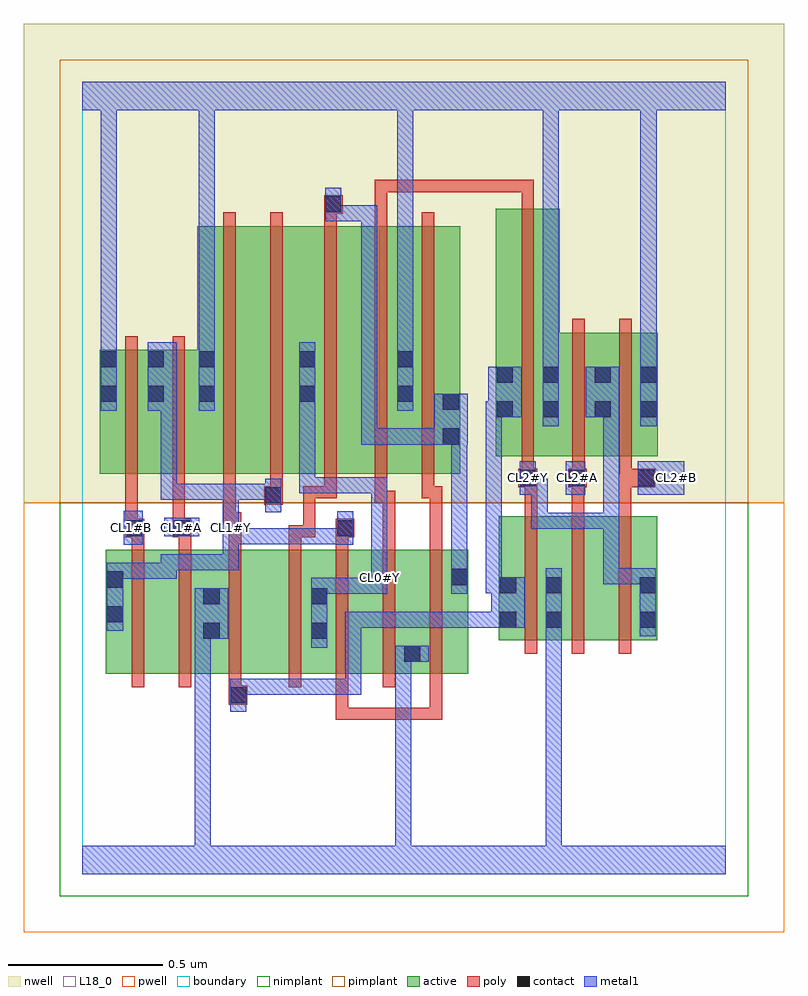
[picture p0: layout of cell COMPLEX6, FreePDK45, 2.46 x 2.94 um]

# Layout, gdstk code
import gdstk
lib = gdstk.Library(unit=1e-6, precision=1e-09)
def R(c, l, rs):  # rectangles x0, y0, x1, y1
    for r in rs: c.add(gdstk.rectangle(r[:2], r[2:], *l))
def A(c, l, x, y, w, h, nx, ny, dx, dy):  # array of equal rectangles
    R(c, l, [(x+i*dx, y+j*dy, x+i*dx+w, y+j*dy+h) for i in range(nx) for j in range(ny)])
active = (1, 0)
pwell = (2, 0)
nwell = (3, 0)
nimplant = (4, 0)
pimplant = (5, 0)
poly = (9, 0)
contact = (10, 0)
metal1 = (11, 0)
L18_0 = (18, 0)
boundary = (235, 0)

complex6 = lib.new_cell('COMPLEX6')
R(complex6, active, [(0.076,0.648,0.136,1.048), (0.076,0.648,0.256,1.048), (0.256,0.648,0.448,1.048), (0.388,0.648,0.448,1.048), (0.388,0.648,0.612,1.048), (0.612,0.648,0.796,1.048), (0.736,0.648,0.796,1.048), (0.736,0.648,0.916,1.048), (0.916,0.648,1.096,1.048), (1.036,0.648,1.248,1.048), (1.036,0.648,1.096,0.828), (1.188,0.756,1.248,1.048), (1.346,0.756,1.406,1.156), (1.346,0.756,1.554,1.156), (1.494,0.756,1.554,1.156), (1.494,0.756,1.678,1.156), (1.678,0.756,1.858,1.156), (1.798,0.756,1.858,1.156), (0.056,1.294,0.116,1.694), (0.056,1.294,0.268,1.694), (0.208,1.294,0.268,1.694), (0.208,1.294,0.432,1.694), (0.372,1.294,0.552,2.094), (0.552,1.294,0.758,2.094), (0.698,1.294,0.758,2.044), (0.698,1.294,0.89,2.094), (0.89,1.294,1.074,2.094), (1.014,1.294,1.222,2.094), (1.014,1.294,1.074,2.044), (1.162,1.294,1.222,2.044), (1.336,1.35,1.544,2.15), (1.336,1.35,1.396,2.044), (1.484,1.35,1.712,1.75), (1.484,1.35,1.544,2.15), (1.652,1.35,1.712,1.75), (1.652,1.35,1.86,1.75), (1.8,1.35,1.86,1.75), (0.372,1.458,0.432,2.094)])
R(complex6, pwell, [(-0.188,-0.188,2.268,1.2)])
R(complex6, nwell, [(-0.188,1.2,2.268,2.748)])
R(complex6, nimplant, [(-0.072,-0.072,2.152,1.2)])
R(complex6, pimplant, [(-0.072,1.2,2.152,2.632)])
A(complex6, poly, 0.668, 0.604, 0.04, 0.488, 4, 1, 0.152, 0)
A(complex6, poly, 1.43, 0.712, 0.04, 0.488, 3, 1, 0.152, 0)
A(complex6, poly, 1.43, 1.16, 0.04, 0.13, 3, 1, 0.152, 0)
R(complex6, poly, [(0.82,0.498,0.86,0.538), (0.82,0.498,0.86,0.538), (0.82,0.498,0.86,0.538), (0.82,0.498,0.86,0.644), (0.82,0.498,0.966,0.538), (0.926,0.498,0.966,0.538), (0.926,0.498,1.164,0.538), (1.124,0.498,1.164,0.538), (1.124,0.498,1.164,0.538), (1.124,0.498,1.164,0.538), (1.124,0.498,1.164,0.644), (0.474,0.548,0.534,0.608), (0.474,0.568,0.514,0.644), (0.16,0.604,0.2,1.092), (0.312,0.604,0.352,1.092), (0.474,0.604,0.514,1.092), (0.16,1.052,0.2,1.128), (0.312,1.052,0.352,1.128), (0.474,1.052,0.514,1.17), (0.668,1.052,0.708,1.128), (0.82,1.052,0.86,1.128), (0.972,1.052,1.012,1.238), (1.124,1.052,1.164,1.254), (0.14,1.088,0.2,1.148), (0.16,1.088,0.2,1.128), (0.16,1.088,0.2,1.128), (0.292,1.088,0.352,1.148), (0.668,1.088,0.708,1.128), (0.668,1.088,0.754,1.128), (0.714,1.088,0.754,1.128), (0.714,1.088,0.754,1.254), (0.82,1.088,0.88,1.148), (0.14,1.108,0.18,1.29), (0.292,1.108,0.332,1.148), (0.292,1.108,0.332,1.148), (0.292,1.108,0.332,1.29), (0.456,1.13,0.496,1.29), (0.456,1.13,0.514,1.17), (0.474,1.13,0.514,1.17), (0.474,1.13,0.514,1.17), (0.588,1.194,0.648,1.254), (0.946,1.198,0.986,1.29), (0.946,1.198,0.998,1.238), (0.958,1.198,0.998,1.238), (0.958,1.198,1.012,1.238), (0.608,1.214,0.648,1.29), (0.714,1.214,0.754,1.254), (0.714,1.214,0.822,1.254), (0.782,1.214,0.822,1.29), (0.782,1.214,0.822,1.254), (1.098,1.214,1.138,1.29), (1.098,1.214,1.164,1.254), (1.124,1.214,1.164,1.254), (1.124,1.214,1.164,1.254), (0.14,1.25,0.18,1.738), (0.292,1.25,0.332,1.738), (0.456,1.25,0.496,2.138), (0.608,1.25,0.648,2.138), (0.782,1.25,0.822,2.138), (0.946,1.25,0.986,2.138), (1.098,1.25,1.138,2.138), (1.41,1.25,1.47,1.31), (1.57,1.25,1.63,1.31), (1.582,1.25,1.622,1.29), (1.582,1.25,1.622,1.29), (1.734,1.25,1.776,1.29), (1.736,1.25,1.776,1.29), (1.736,1.25,1.852,1.31), (1.42,1.27,1.46,1.346), (1.42,1.27,1.46,1.31), (1.42,1.27,1.46,1.31), (1.584,1.27,1.624,1.346), (1.736,1.27,1.776,1.346), (1.42,1.306,1.46,2.194), (1.584,1.306,1.624,1.794), (1.736,1.306,1.776,1.794), (0.782,2.098,0.822,2.174), (0.946,2.098,0.986,2.244), (0.782,2.134,0.842,2.194), (1.42,2.154,1.46,2.244), (0.946,2.204,0.986,2.244), (0.946,2.204,1.092,2.244), (1.052,2.204,1.092,2.244), (1.052,2.204,1.092,2.244), (1.052,2.204,1.092,2.244), (1.052,2.204,1.302,2.244), (1.262,2.204,1.302,2.244), (1.262,2.204,1.302,2.244), (1.262,2.204,1.302,2.244), (1.262,2.204,1.46,2.244), (1.42,2.204,1.46,2.244)])
R(complex6, contact, [(0.478,0.552,0.53,0.604), (1.04,0.686,1.092,0.738), (0.392,0.76,0.444,0.812), (0.74,0.76,0.792,0.812), (1.35,0.796,1.402,0.848), (1.498,0.796,1.55,0.848), (1.802,0.796,1.854,0.848), (0.08,0.814,0.132,0.866), (0.392,0.872,0.444,0.924), (0.74,0.872,0.792,0.924), (1.35,0.908,1.402,0.96), (1.498,0.908,1.55,0.96), (1.802,0.908,1.854,0.96), (0.08,0.926,0.132,0.978), (1.192,0.934,1.244,0.986), (0.144,1.092,0.196,1.144), (0.296,1.092,0.348,1.144), (0.824,1.092,0.876,1.144), (0.592,1.198,0.644,1.25), (1.414,1.254,1.466,1.306), (1.574,1.254,1.626,1.306), (1.796,1.254,1.848,1.306), (1.166,1.388,1.218,1.44), (1.34,1.476,1.392,1.528), (1.488,1.476,1.54,1.528), (1.656,1.476,1.708,1.528), (1.804,1.476,1.856,1.528), (1.166,1.5,1.218,1.552), (0.06,1.526,0.112,1.578), (0.212,1.526,0.264,1.578), (0.376,1.526,0.428,1.578), (0.702,1.526,0.754,1.578), (1.018,1.526,1.07,1.578), (1.34,1.588,1.392,1.64), (1.488,1.588,1.54,1.64), (1.656,1.588,1.708,1.64), (1.804,1.588,1.856,1.64), (0.06,1.638,0.112,1.69), (0.212,1.638,0.264,1.69), (0.376,1.638,0.428,1.69), (0.702,1.638,0.754,1.69), (1.018,1.638,1.07,1.69), (0.786,2.138,0.838,2.19)])
R(complex6, metal1, [(0,0,2.08,0.092), (0.364,0.04,0.416,0.092), (0.364,0.04,0.416,0.092), (0.364,0.04,0.416,0.092), (0.364,0.04,0.416,0.092), (0.364,0.04,0.416,0.092), (0.364,0.04,0.416,0.092), (0.364,0.04,0.416,0.092), (0.364,0.04,0.416,0.092), (0.364,0.04,0.416,0.092), (0.364,0.04,0.416,0.092), (0.364,0.04,0.416,0.812), (1.012,0.04,1.064,0.092), (1.012,0.04,1.064,0.092), (1.012,0.04,1.064,0.092), (1.012,0.04,1.064,0.092), (1.012,0.04,1.064,0.738), (1.498,0.04,1.55,0.092), (1.498,0.04,1.55,0.092), (1.498,0.04,1.55,0.82), (0.478,0.524,0.53,0.632), (0.478,0.58,0.644,0.632), (0.592,0.58,0.644,0.632), (0.592,0.58,0.644,0.632), (0.592,0.58,0.644,0.632), (0.592,0.58,0.792,0.632), (0.74,0.58,0.792,0.632), (0.74,0.58,0.792,0.632), (0.74,0.58,0.792,0.632), (0.74,0.58,0.902,0.632), (0.85,0.58,0.902,0.632), (0.85,0.58,0.902,0.632), (0.85,0.58,0.902,0.632), (0.85,0.58,0.902,0.848), (1.012,0.686,1.064,0.738), (1.012,0.686,1.064,0.738), (1.012,0.686,1.064,0.738), (1.012,0.686,1.064,0.738), (1.012,0.686,1.064,0.738), (1.012,0.686,1.064,0.738), (1.012,0.686,1.064,0.738), (1.012,0.686,1.064,0.738), (1.012,0.686,1.12,0.738), (0.74,0.732,0.792,0.952), (0.364,0.76,0.416,0.812), (0.364,0.76,0.416,0.812), (0.364,0.76,0.472,0.924), (1.498,0.768,1.55,0.82), (1.498,0.768,1.55,0.82), (1.498,0.768,1.55,0.82), (1.498,0.768,1.55,0.82), (1.498,0.768,1.55,0.82), (1.498,0.768,1.55,0.82), (1.498,0.768,1.55,0.82), (1.498,0.768,1.55,0.82), (1.498,0.768,1.55,0.82), (1.498,0.768,1.55,0.82), (1.498,0.768,1.55,0.988), (1.802,0.768,1.854,0.988), (0.08,0.786,0.132,1.006), (0.85,0.796,0.902,0.848), (0.85,0.796,1.064,0.848), (1.012,0.796,1.064,0.848), (1.012,0.796,1.064,0.848), (1.012,0.796,1.064,0.848), (1.012,0.796,1.246,0.848), (1.194,0.796,1.246,0.848), (1.194,0.796,1.246,0.848), (1.194,0.796,1.246,0.848), (1.194,0.796,1.374,0.848), (1.322,0.796,1.43,0.96), (0.74,0.9,0.792,0.952), (0.74,0.9,0.792,0.958), (0.74,0.906,0.986,0.958), (0.934,0.906,0.986,0.958), (0.934,0.906,0.986,0.958), (0.934,0.906,0.986,1.014), (1.192,0.906,1.244,1.014), (1.304,0.908,1.356,1.528), (1.304,0.908,1.374,0.96), (1.322,0.908,1.374,0.96), (1.684,0.936,1.736,0.988), (1.684,0.936,1.854,0.988), (1.684,0.936,1.736,1.168), (1.802,0.936,1.854,0.988), (1.802,0.936,1.854,0.988), (0.08,0.954,0.132,1.006), (0.08,0.954,0.132,1.006), (0.08,0.954,0.306,1.006), (0.254,0.954,0.306,1.006), (0.254,0.954,0.306,1.006), (0.254,0.954,0.306,1.034), (0.934,0.962,0.986,1.282), (1.192,0.962,1.244,1.014), (1.192,0.962,1.244,1.014), (1.192,0.962,1.244,1.014), (1.192,0.962,1.244,1.014), (1.192,0.962,1.244,1.44), (0.254,0.982,0.506,1.034), (0.454,0.982,0.506,1.034), (0.454,0.982,0.506,1.118), (0.134,1.064,0.196,1.174), (0.824,1.064,0.876,1.172), (0.454,1.066,0.506,1.118), (0.454,1.066,0.506,1.118), (0.454,1.066,0.506,1.174), (0.454,1.066,0.644,1.118), (0.592,1.066,0.644,1.118), (0.592,1.066,0.644,1.118), (0.592,1.066,0.644,1.118), (0.592,1.066,0.792,1.118), (0.74,1.066,0.792,1.118), (0.74,1.066,0.876,1.118), (0.266,1.092,0.378,1.152), (1.452,1.116,1.736,1.168), (1.452,1.116,1.504,1.278), (1.684,1.116,1.736,1.168), (1.684,1.116,1.736,1.168), (1.684,1.116,1.736,1.168), (1.684,1.116,1.736,1.528), (0.454,1.122,0.506,1.262), (0.592,1.17,0.644,1.278), (0.254,1.21,0.306,1.262), (0.254,1.21,0.306,1.262), (0.254,1.21,0.306,1.262), (0.254,1.21,0.506,1.262), (0.254,1.21,0.306,1.55), (0.454,1.21,0.506,1.262), (0.454,1.21,0.506,1.262), (0.454,1.21,0.506,1.262), (0.454,1.21,0.644,1.262), (0.592,1.21,0.644,1.262), (0.592,1.21,0.644,1.262), (1.414,1.226,1.504,1.278), (1.414,1.226,1.466,1.334), (1.562,1.226,1.626,1.334), (1.796,1.226,1.946,1.334), (0.702,1.23,0.754,1.282), (0.702,1.23,0.754,1.282), (0.702,1.23,0.754,1.282), (0.702,1.23,0.986,1.282), (0.702,1.23,0.754,1.55), (0.934,1.23,0.986,1.282), (0.902,1.388,0.954,1.44), (0.902,1.388,0.954,1.44), (0.902,1.388,0.954,1.44), (0.902,1.388,0.954,1.44), (0.902,1.388,0.954,1.44), (0.902,1.388,0.954,1.44), (0.902,1.388,0.954,1.44), (0.902,1.388,1.064,1.44), (0.902,1.388,0.954,2.162), (1.012,1.388,1.064,1.44), (1.012,1.388,1.064,1.44), (1.012,1.388,1.064,1.44), (1.012,1.388,1.19,1.44), (1.138,1.388,1.19,1.44), (1.138,1.388,1.19,1.44), (1.138,1.388,1.246,1.552), (1.488,1.448,1.54,1.668), (1.804,1.448,1.856,1.668), (1.304,1.476,1.356,1.528), (1.304,1.476,1.356,1.528), (1.304,1.476,1.356,1.528), (1.304,1.476,1.356,1.528), (1.304,1.476,1.364,1.528), (1.312,1.476,1.364,1.528), (1.312,1.476,1.42,1.64), (1.628,1.476,1.736,1.64), (1.684,1.476,1.736,1.528), (1.684,1.476,1.736,1.528), (0.06,1.498,0.112,1.718), (0.212,1.498,0.306,1.718), (0.376,1.498,0.428,1.718), (0.702,1.498,0.754,1.718), (1.018,1.498,1.07,1.718), (1.488,1.616,1.54,2.52), (1.804,1.616,1.856,1.668), (1.804,1.616,1.856,1.668), (1.804,1.616,1.856,1.668), (1.804,1.616,1.856,1.668), (1.804,1.616,1.856,1.668), (1.804,1.616,1.856,1.668), (1.804,1.616,1.856,1.668), (1.804,1.616,1.856,1.668), (1.804,1.616,1.856,1.668), (1.804,1.616,1.856,1.668), (1.804,1.616,1.856,2.52), (0.06,1.666,0.112,1.718), (0.06,1.666,0.112,1.718), (0.06,1.666,0.112,1.718), (0.06,1.666,0.112,1.718), (0.06,1.666,0.112,1.718), (0.06,1.666,0.112,1.718), (0.06,1.666,0.112,1.718), (0.06,1.666,0.112,1.718), (0.06,1.666,0.112,1.718), (0.06,1.666,0.112,1.718), (0.06,1.666,0.112,1.718), (0.06,1.666,0.112,1.718), (0.06,1.666,0.112,2.52), (0.376,1.666,0.428,2.52), (1.018,1.666,1.07,1.718), (1.018,1.666,1.07,1.718), (1.018,1.666,1.07,1.718), (1.018,1.666,1.07,1.718), (1.018,1.666,1.07,1.718), (1.018,1.666,1.07,1.718), (1.018,1.666,1.07,2.52), (0.786,2.11,0.838,2.218), (0.786,2.11,0.954,2.162), (0.902,2.11,0.954,2.162), (0.902,2.11,0.954,2.162), (0.902,2.11,0.954,2.162), (0.902,2.11,0.954,2.162), (0.902,2.11,0.954,2.162), (0.902,2.11,0.954,2.162), (0.902,2.11,0.954,2.162), (0.902,2.11,0.954,2.162), (0.902,2.11,0.954,2.162), (0,2.468,2.08,2.56), (0.06,2.468,0.112,2.52), (0.06,2.468,0.112,2.52), (0.06,2.468,0.112,2.52), (0.06,2.468,0.112,2.52), (0.376,2.468,0.428,2.52), (0.376,2.468,0.428,2.52), (0.376,2.468,0.428,2.52), (0.376,2.468,0.428,2.52), (0.376,2.468,0.428,2.52), (0.376,2.468,0.428,2.52), (0.376,2.468,0.428,2.52), (0.376,2.468,0.428,2.52), (1.018,2.468,1.07,2.52), (1.018,2.468,1.07,2.52), (1.488,2.468,1.54,2.52), (1.488,2.468,1.54,2.52), (1.488,2.468,1.54,2.52), (1.488,2.468,1.54,2.52), (1.488,2.468,1.54,2.52), (1.488,2.468,1.54,2.52), (1.488,2.468,1.54,2.52), (1.488,2.468,1.54,2.52), (1.804,2.468,1.856,2.52), (1.804,2.468,1.856,2.52), (1.804,2.468,1.856,2.52), (1.804,2.468,1.856,2.52), (1.804,2.468,1.856,2.52), (1.804,2.468,1.856,2.52)])
A(complex6, L18_0, 0.134, 1.094, 0.052, 0.052, 3, 1, 0.16, 0)
R(complex6, L18_0, [(0,0,2.08,0.092), (0.364,0.04,0.416,0.092), (0.364,0.04,0.416,0.092), (0.364,0.04,0.416,0.092), (0.364,0.04,0.416,0.092), (0.364,0.04,0.416,0.092), (0.364,0.04,0.416,0.092), (0.364,0.04,0.416,0.092), (0.364,0.04,0.416,0.092), (0.364,0.04,0.416,0.092), (0.364,0.04,0.416,0.092), (0.364,0.04,0.416,0.812), (1.012,0.04,1.064,0.092), (1.012,0.04,1.064,0.092), (1.012,0.04,1.064,0.092), (1.012,0.04,1.064,0.092), (1.012,0.04,1.064,0.738), (1.498,0.04,1.55,0.092), (1.498,0.04,1.55,0.092), (1.498,0.04,1.55,0.82), (1.012,0.686,1.064,0.738), (1.012,0.686,1.064,0.738), (1.012,0.686,1.064,0.738), (1.012,0.686,1.064,0.738), (1.012,0.686,1.064,0.738), (1.012,0.686,1.064,0.738), (1.012,0.686,1.064,0.738), (1.012,0.686,1.064,0.738), (1.012,0.686,1.12,0.738), (0.74,0.732,0.792,0.952), (0.364,0.76,0.416,0.812), (0.364,0.76,0.416,0.812), (0.364,0.76,0.472,0.924), (1.498,0.768,1.55,0.988), (1.498,0.768,1.55,0.82), (1.498,0.768,1.55,0.82), (1.498,0.768,1.55,0.82), (1.498,0.768,1.55,0.82), (1.498,0.768,1.55,0.82), (1.498,0.768,1.55,0.82), (1.498,0.768,1.55,0.82), (1.498,0.768,1.55,0.82), (1.498,0.768,1.55,0.82), (1.498,0.768,1.55,0.82), (1.802,0.768,1.854,0.988), (0.08,0.786,0.132,1.006), (0.74,0.9,0.792,0.952), (0.74,0.9,0.792,0.958), (0.74,0.906,0.986,0.958), (0.934,0.906,0.986,0.958), (0.934,0.906,0.986,0.958), (0.934,0.906,0.986,1.014), (0.934,0.934,0.986,0.986), (1.684,0.936,1.736,0.988), (1.684,0.936,1.736,1.168), (1.684,0.936,1.854,0.988), (1.802,0.936,1.854,0.988), (1.802,0.936,1.854,0.988), (0.08,0.954,0.132,1.006), (0.08,0.954,0.132,1.006), (0.08,0.954,0.306,1.006), (0.254,0.954,0.306,1.006), (0.254,0.954,0.306,1.006), (0.254,0.954,0.306,1.034), (0.934,0.962,0.986,1.282), (0.254,0.982,0.506,1.034), (0.454,0.982,0.506,1.034), (0.454,0.982,0.506,1.118), (0.134,1.064,0.196,1.174), (0.824,1.064,0.876,1.172), (0.454,1.066,0.506,1.118), (0.454,1.066,0.506,1.118), (0.454,1.066,0.506,1.174), (0.454,1.066,0.644,1.118), (0.592,1.066,0.644,1.118), (0.592,1.066,0.644,1.118), (0.592,1.066,0.644,1.118), (0.592,1.066,0.792,1.118), (0.74,1.066,0.792,1.118), (0.74,1.066,0.876,1.118), (0.266,1.092,0.378,1.152), (1.452,1.116,1.736,1.168), (1.452,1.116,1.504,1.278), (1.684,1.116,1.736,1.168), (1.684,1.116,1.736,1.168), (1.684,1.116,1.736,1.168), (1.684,1.116,1.736,1.528), (0.454,1.122,0.506,1.262), (0.592,1.17,0.644,1.278), (0.254,1.21,0.306,1.262), (0.254,1.21,0.306,1.262), (0.254,1.21,0.306,1.262), (0.254,1.21,0.306,1.55), (0.254,1.21,0.506,1.262), (0.454,1.21,0.506,1.262), (0.454,1.21,0.506,1.262), (0.454,1.21,0.506,1.262), (0.454,1.21,0.644,1.262), (0.592,1.21,0.644,1.262), (0.592,1.21,0.644,1.262), (1.414,1.226,1.466,1.334), (1.414,1.226,1.504,1.278), (1.562,1.226,1.626,1.334), (1.796,1.226,1.946,1.334), (0.702,1.23,0.754,1.282), (0.702,1.23,0.754,1.282), (0.702,1.23,0.754,1.282), (0.702,1.23,0.754,1.55), (0.702,1.23,0.986,1.282), (0.934,1.23,0.986,1.282), (1.414,1.254,1.466,1.306), (1.574,1.254,1.626,1.306), (1.894,1.254,1.946,1.306), (1.488,1.448,1.54,1.668), (1.804,1.448,1.856,1.668), (1.628,1.476,1.736,1.64), (1.684,1.476,1.736,1.528), (1.684,1.476,1.736,1.528), (0.06,1.498,0.112,1.718), (0.212,1.498,0.306,1.718), (0.376,1.498,0.428,1.718), (0.702,1.498,0.754,1.718), (1.018,1.498,1.07,1.718), (1.488,1.616,1.54,2.52), (1.804,1.616,1.856,1.668), (1.804,1.616,1.856,1.668), (1.804,1.616,1.856,1.668), (1.804,1.616,1.856,1.668), (1.804,1.616,1.856,1.668), (1.804,1.616,1.856,1.668), (1.804,1.616,1.856,1.668), (1.804,1.616,1.856,1.668), (1.804,1.616,1.856,1.668), (1.804,1.616,1.856,1.668), (1.804,1.616,1.856,2.52), (0.06,1.666,0.112,1.718), (0.06,1.666,0.112,1.718), (0.06,1.666,0.112,1.718), (0.06,1.666,0.112,1.718), (0.06,1.666,0.112,1.718), (0.06,1.666,0.112,1.718), (0.06,1.666,0.112,1.718), (0.06,1.666,0.112,1.718), (0.06,1.666,0.112,1.718), (0.06,1.666,0.112,1.718), (0.06,1.666,0.112,1.718), (0.06,1.666,0.112,1.718), (0.06,1.666,0.112,2.52), (0.376,1.666,0.428,2.52), (1.018,1.666,1.07,1.718), (1.018,1.666,1.07,1.718), (1.018,1.666,1.07,1.718), (1.018,1.666,1.07,1.718), (1.018,1.666,1.07,1.718), (1.018,1.666,1.07,1.718), (1.018,1.666,1.07,2.52), (0,2.468,2.08,2.56), (0.06,2.468,0.112,2.52), (0.06,2.468,0.112,2.52), (0.06,2.468,0.112,2.52), (0.06,2.468,0.112,2.52), (0.376,2.468,0.428,2.52), (0.376,2.468,0.428,2.52), (0.376,2.468,0.428,2.52), (0.376,2.468,0.428,2.52), (0.376,2.468,0.428,2.52), (0.376,2.468,0.428,2.52), (0.376,2.468,0.428,2.52), (0.376,2.468,0.428,2.52), (1.018,2.468,1.07,2.52), (1.018,2.468,1.07,2.52), (1.488,2.468,1.54,2.52), (1.488,2.468,1.54,2.52), (1.488,2.468,1.54,2.52), (1.488,2.468,1.54,2.52), (1.488,2.468,1.54,2.52), (1.488,2.468,1.54,2.52), (1.488,2.468,1.54,2.52), (1.488,2.468,1.54,2.52), (1.804,2.468,1.856,2.52), (1.804,2.468,1.856,2.52), (1.804,2.468,1.856,2.52), (1.804,2.468,1.856,2.52), (1.804,2.468,1.856,2.52), (1.804,2.468,1.856,2.52)])
R(complex6, boundary, [(0,0,2.08,2.56)])
complex6.add(gdstk.Label('CL0#Y', (0.96,0.96), layer=11, texttype=0))
complex6.add(gdstk.Label('CL1#A', (0.32,1.12), layer=11, texttype=0))
complex6.add(gdstk.Label('CL1#B', (0.16,1.12), layer=11, texttype=0))
complex6.add(gdstk.Label('CL1#Y', (0.48,1.12), layer=11, texttype=0))
complex6.add(gdstk.Label('CL2#A', (1.6,1.28), layer=11, texttype=0))
complex6.add(gdstk.Label('CL2#B', (1.92,1.28), layer=11, texttype=0))
complex6.add(gdstk.Label('CL2#Y', (1.44,1.28), layer=11, texttype=0))

lib.write_gds('COMPLEX6.gds')
